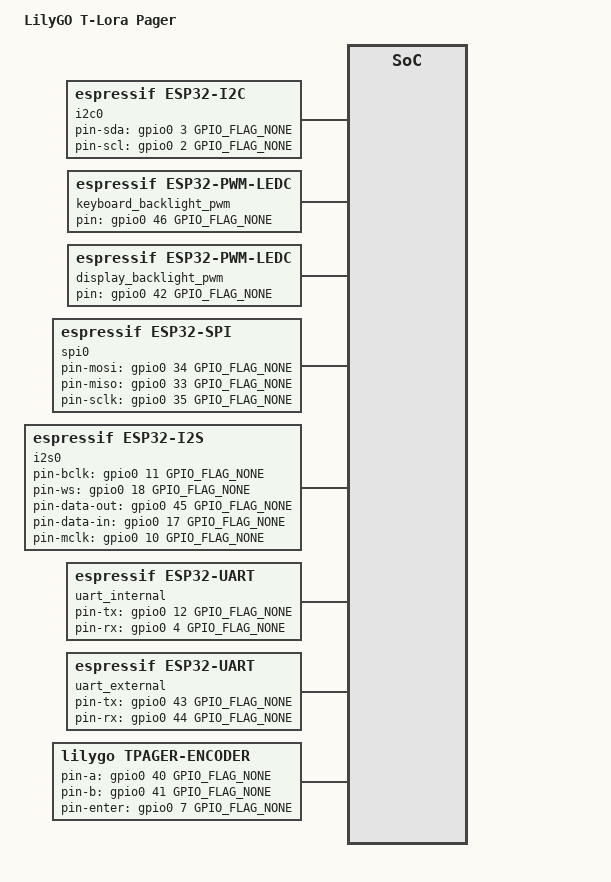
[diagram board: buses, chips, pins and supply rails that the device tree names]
/dts-v1/;

#include <tactility/bindings/root.h>
#include <tactility/bindings/esp32_ble.h>
#include <tactility/bindings/esp32_wifi_pinned.h>
#include <tactility/bindings/esp32_gpio.h>
#include <tactility/bindings/esp32_i2c.h>
#include <tactility/bindings/esp32_i2s.h>
#include <tactility/bindings/esp32_spi.h>
#include <tactility/bindings/esp32_uart.h>
#include <tactility/bindings/esp32_sdspi.h>
#include <tactility/bindings/esp32_pwm_ledc.h>
#include <tactility/bindings/pwm_backlight.h>
#include <bindings/st7796.h>
#include <bindings/bq27220.h>
#include <bindings/tca8418.h>
#include <bindings/bq25896.h>
#include <bindings/drv2605.h>
#include <lilygo/bindings/tpager_encoder.h>

// Reference: https://wiki.lilygo.cc/get_started/en/LoRa_GPS/T-LoraPager/T-LoraPager.html
/ {
	compatible = "root";
	model = "LilyGO T-Lora Pager";

	wifi0 {
		compatible = "espressif,esp32-wifi-pinned";
		status = "disabled";
	};

	ble0 {
		compatible = "espressif,esp32-ble";
		status = "disabled";
	};

	gpio0 {
		compatible = "espressif,esp32-gpio";
		gpio-count = <49>;
	};

	i2c0 {
		compatible = "espressif,esp32-i2c";
		port = <I2C_NUM_0>;
		clock-frequency = <100000>;
		pin-sda = <&gpio0 3 GPIO_FLAG_NONE>;
		pin-scl = <&gpio0 2 GPIO_FLAG_NONE>;

		bq27220 {
			compatible = "ti,bq27220";
			reg = <0x55>;
		};

		// ALT (shift) is row 2 col 8; SYM (symbol layer) is row 2 col 0.
		keyboard {
			compatible = "ti,tca8418";
			reg = <0x34>;
			rows = <4>;
			columns = <10>;
			keymap-lc = [
				113 119 101 114 116 121 117 105 111 112 // q w e r t y u i o p
				97 115 100 102 103 104 106 107 108 10   // a s d f g h j k l ENTER
				0 122 120 99 118 98 110 109 0 8          //   z x c v b n m   BACKSPACE
				32 0 0 0 0 0 0 0 0 0                     // SPC
			];
			keymap-uc = [
				81 87 69 82 84 89 85 73 79 80 // Q W E R T Y U I O P
				65 83 68 70 71 72 74 75 76 10 // A S D F G H J K L ENTER
				0 90 88 67 86 66 78 77 0 8    //   Z X C V B N M   BACKSPACE
				32 0 0 0 0 0 0 0 0 0          // SPC
			];
			keymap-sy = [
				49 50 51 52 53 54 55 56 57 48 // 1 2 3 4 5 6 7 8 9 0
				46 47 43 45 61 58 39 34 64 9  // . / + - = : ' " @ TAB
				0 95 36 59 63 33 44 46 0 8    //   _ $ ; ? ! , .   BACKSPACE
				32 0 0 0 0 0 0 0 0 0          // SPC
			];
			shift-row = <2>;
			shift-col = <8>;
			sym-row = <2>;
			sym-col = <0>;
		};

		bq25896 {
			compatible = "ti,bq25896";
			reg = <0x6B>;
		};

		// Plays a 3x strong-click "buzz" once at boot to confirm the motor works (matches the
		// deprecated HAL's Drv2605 default autoPlayStartupBuzz=true).
		drv2605 {
			compatible = "ti,drv2605";
			reg = <0x5A>;
		};
	};

	// Keyboard backlight (LED_PWM), GPIO46. The keypress-triggered flash/decay effect from the
	// pre-migration driver isn't reproduced here - kernel drivers don't have a home for that kind
	// of UI policy (same reasoning as the encoder/touch drivers elsewhere). Off by default; app
	// code can drive brightness via the generic pwm-backlight API if desired.
	keyboard_backlight_pwm {
		compatible = "espressif,esp32-pwm-ledc";
		pin = <&gpio0 46 GPIO_FLAG_NONE>;
		period-ns = <33333>;
		ledc-timer = <1>;
		ledc-channel = <1>;
	};

	keyboard_backlight {
		compatible = "pwm-backlight";
		status = "disabled";
		pwm = <&keyboard_backlight_pwm>;
	};

	display_backlight_pwm {
		compatible = "espressif,esp32-pwm-ledc";
		pin = <&gpio0 42 GPIO_FLAG_NONE>;
		// 32 KHz and higher causes the screen to start dimming again above 80% brightness
		// when moving the brightness slider rapidly from a lower setting to 100% (debug-traced, not a slider bug).
		period-ns = <33333>;
		ledc-timer = <0>;
		ledc-channel = <0>;
	};

	display_backlight {
		compatible = "pwm-backlight";
		// Off by default so display power-on won't show the screen from before the last power loss.
		// The display backlight is turned on during the boot process.
		status = "disabled";
		pwm = <&display_backlight_pwm>;
	};

	spi0 {
		compatible = "espressif,esp32-spi";
		host = <SPI2_HOST>;
		cs-gpios = <&gpio0 21 GPIO_FLAG_NONE>, // SD
		        <&gpio0 38 GPIO_FLAG_NONE>, // Display
		        <&gpio0 36 GPIO_FLAG_NONE>, // Lora
		        <&gpio0 39 GPIO_FLAG_NONE>; // NFC
		pin-mosi = <&gpio0 34 GPIO_FLAG_NONE>;
		pin-miso = <&gpio0 33 GPIO_FLAG_NONE>;
		pin-sclk = <&gpio0 35 GPIO_FLAG_NONE>;
		miso-pull-up;
		
		sdcard@0 {
			compatible = "espressif,esp32-sdspi";
			frequency-khz = <20000>;
		};
		
		display@1 {
			compatible = "sitronix,st7796";
			horizontal-resolution = <480>;
			vertical-resolution = <222>;
			swap-xy;
			mirror-x;
			mirror-y;
			invert-color;
			bgr-order;
			gap-x = <0>;
			gap-y = <49>;
			pixel-clock-hz = <80000000>;
			transaction-queue-depth = <2>;
			pin-dc = <&gpio0 37 GPIO_FLAG_NONE>;
			backlight = <&display_backlight>;
		};
	};

	// ES8311
	// TODO: init via I2C to enable audio playback
	i2s0 {
		compatible = "espressif,esp32-i2s";
		port = <I2S_NUM_0>;
		pin-bclk = <&gpio0 11 GPIO_FLAG_NONE>;
		pin-ws = <&gpio0 18 GPIO_FLAG_NONE>;
		pin-data-out = <&gpio0 45 GPIO_FLAG_NONE>;
		pin-data-in = <&gpio0 17 GPIO_FLAG_NONE>;
		pin-mclk = <&gpio0 10 GPIO_FLAG_NONE>;
	};

	uart_internal: uart0 {
		compatible = "espressif,esp32-uart";
		port = <UART_NUM_0>;
		pin-tx = <&gpio0 12 GPIO_FLAG_NONE>;
		pin-rx = <&gpio0 4 GPIO_FLAG_NONE>;
	};

	uart_external: uart1 {
		compatible = "espressif,esp32-uart";
		port = <UART_NUM_1>;
		pin-tx = <&gpio0 43 GPIO_FLAG_NONE>;
		pin-rx = <&gpio0 44 GPIO_FLAG_NONE>;
	};

	// Encoder wheel next to the display.
	encoder {
		compatible = "lilygo,tpager-encoder";
		pin-a = <&gpio0 40 GPIO_FLAG_NONE>;
		pin-b = <&gpio0 41 GPIO_FLAG_NONE>;
		pin-enter = <&gpio0 7 GPIO_FLAG_NONE>;
	};
};
